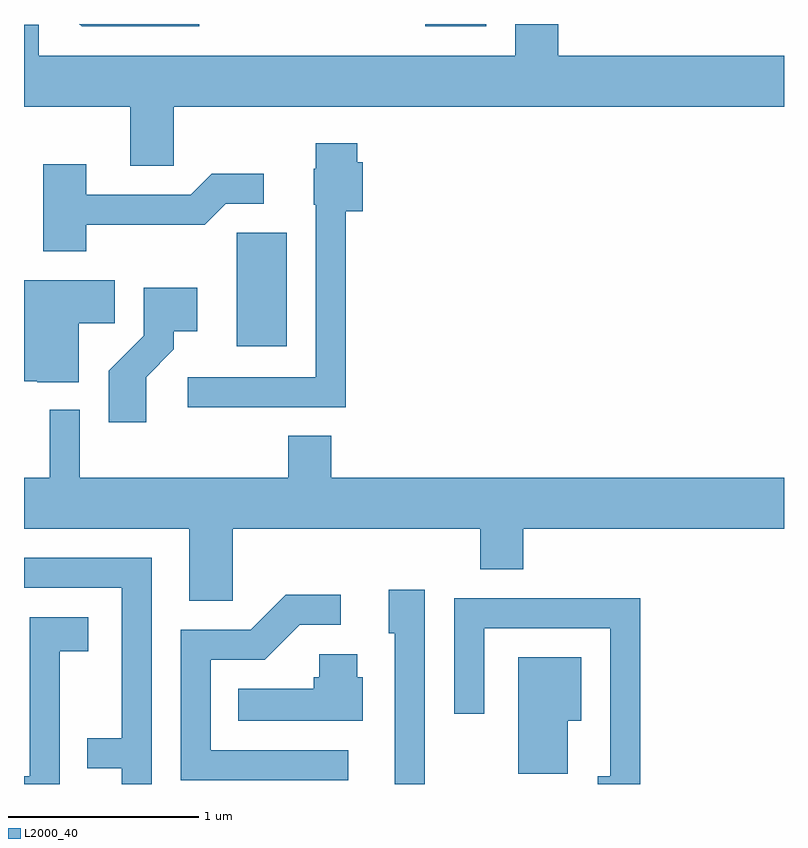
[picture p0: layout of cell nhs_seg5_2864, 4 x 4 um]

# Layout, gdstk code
import gdstk
lib = gdstk.Library(unit=1e-6, precision=1e-09)
def R(c, l, rs):  # rectangles x0, y0, x1, y1
    for r in rs: c.add(gdstk.rectangle(r[:2], r[2:], *l))
def P(c, l, *ps):  # polygons
    for p in ps: c.add(gdstk.Polygon(p, *l))
L2000_40 = (2000, 40)

nhs_seg5_2864 = lib.new_cell('nhs_seg5_2864')
R(nhs_seg5_2864, L2000_40, [(270.731,1504.376,270.994,1504.974), (271.723,1506.061,272.044,1506.072)])
P(nhs_seg5_2864, L2000_40, [(270.399,1505.636),(273.611,1505.636),(273.611,1505.904),(272.424,1505.904),(272.424,1506.072),(272.196,1506.072),(272.196,1505.904),(269.689,1505.904),(269.689,1506.069),(269.611,1506.069),(269.611,1505.636),(270.171,1505.636),(270.171,1505.326),(270.399,1505.326)],
  [(270.534,1506.072),(269.903,1506.072),(269.914,1506.061),(270.534,1506.061)],
  [(271.304,1505.086),(271.394,1505.086),(271.394,1505.344),(271.364,1505.344),(271.364,1505.444),(271.146,1505.444),(271.146,1505.31),(271.136,1505.31),(271.136,1505.12),(271.146,1505.12),(271.146,1504.214),(270.473,1504.214),(270.473,1504.056),(271.304,1504.056)],
  [(269.939,1505.016),(270.562,1505.016),(270.672,1505.126),(270.873,1505.126),(270.873,1505.284),(270.599,1505.284),(270.489,1505.174),(269.939,1505.174),(269.939,1505.334),(269.711,1505.334),(269.711,1504.876),(269.939,1504.876)],
  [(269.899,1504.496),(270.089,1504.496),(270.089,1504.724),(269.611,1504.724),(269.611,1504.191),(269.68,1504.191),(269.68,1504.186),(269.899,1504.186)],
  [(270.254,1504.214),(270.399,1504.359),(270.399,1504.456),(270.524,1504.456),(270.524,1504.684),(270.241,1504.684),(270.241,1504.432),(270.056,1504.247),(270.056,1503.976),(270.254,1503.976)],
  [(270.709,1503.416),(272.011,1503.416),(272.011,1503.201),(272.239,1503.201),(272.239,1503.416),(273.611,1503.416),(273.611,1503.684),(271.229,1503.684),(271.229,1503.904),(271.001,1503.904),(271.001,1503.684),(269.904,1503.684),(269.904,1504.043),(269.746,1504.043),(269.746,1503.684),(269.611,1503.684),(269.611,1503.416),(270.481,1503.416),(270.481,1503.036),(270.709,1503.036)],
  [(270.284,1503.264),(269.611,1503.264),(269.611,1503.106),(270.126,1503.106),(270.126,1502.314),(269.943,1502.314),(269.943,1502.156),(270.126,1502.156),(270.126,1502.072),(270.284,1502.072)],
  [(271.719,1503.094),(271.531,1503.094),(271.531,1502.866),(271.561,1502.866),(271.561,1502.072),(271.719,1502.072)],
  [(271.318,1502.249),(270.594,1502.249),(270.594,1502.726),(270.877,1502.726),(271.062,1502.911),(271.278,1502.911),(271.278,1503.069),(270.989,1503.069),(270.804,1502.884),(270.436,1502.884),(270.436,1502.091),(271.318,1502.091)],
  [(272.854,1503.049),(271.876,1503.049),(271.876,1502.443),(272.034,1502.443),(272.034,1502.891),(272.696,1502.891),(272.696,1502.114),(272.631,1502.114),(272.631,1502.072),(272.854,1502.072)],
  [(269.799,1502.771),(269.949,1502.771),(269.949,1502.949),(269.641,1502.949),(269.641,1502.114),(269.611,1502.114),(269.611,1502.072),(269.799,1502.072)],
  [(271.394,1502.634),(271.364,1502.634),(271.364,1502.754),(271.166,1502.754),(271.166,1502.634),(271.136,1502.634),(271.136,1502.574),(270.738,1502.574),(270.738,1502.406),(271.394,1502.406)],
  [(272.474,1502.406),(272.544,1502.406),(272.544,1502.739),(272.211,1502.739),(272.211,1502.126),(272.474,1502.126)])

lib.write_gds('nhs_seg5_2864.gds')
